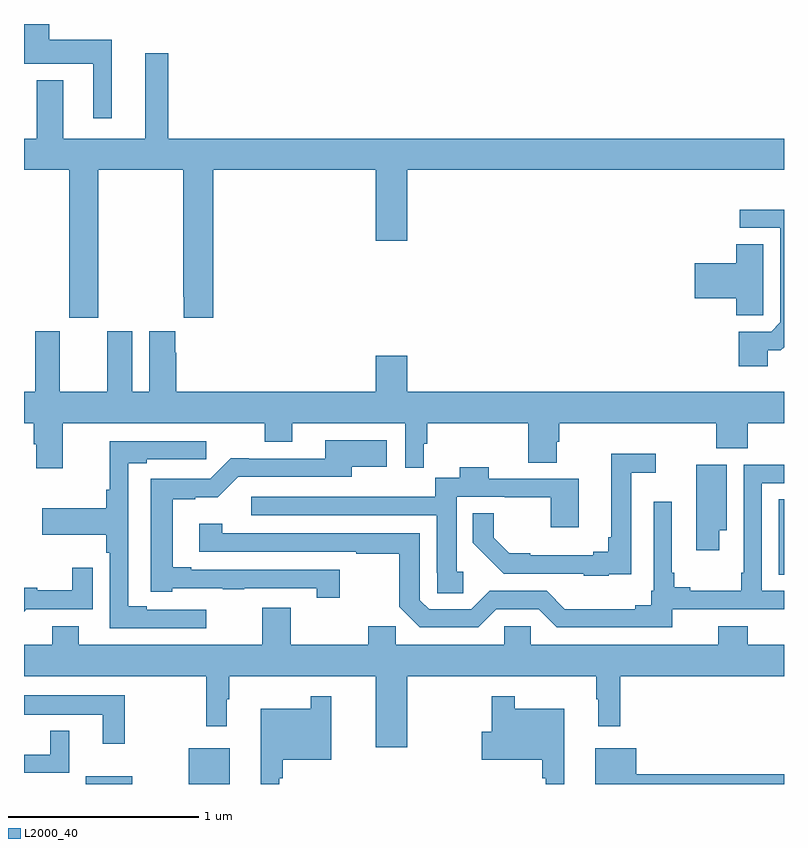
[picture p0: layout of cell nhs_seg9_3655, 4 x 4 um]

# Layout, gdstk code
import gdstk
lib = gdstk.Library(unit=1e-6, precision=1e-09)
def R(c, l, rs):  # rectangles x0, y0, x1, y1
    for r in rs: c.add(gdstk.rectangle(r[:2], r[2:], *l))
def P(c, l, *ps):  # polygons
    for p in ps: c.add(gdstk.Polygon(p, *l))
L2000_40 = (2000, 40)

nhs_seg9_3655 = lib.new_cell('nhs_seg9_3655')
R(nhs_seg9_3655, L2000_40, [(319.325,1214.5,319.57,1214.542), (319.868,1214.5,320.083,1214.689), (322.973,1215.601,323,1215.998)])
P(nhs_seg9_3655, L2000_40, [(319.462,1218.418),(319.132,1218.418),(319.132,1218.5),(319,1218.5),(319,1218.29),(319.364,1218.29),(319.364,1218.003),(319.462,1218.003)],
  [(319.392,1217.732),(319.837,1217.732),(319.837,1217.065),(319.841,1217.065),(319.841,1216.953),(319.997,1216.953),(319.997,1217.732),(320.852,1217.732),(320.852,1217.358),(321.016,1217.358),(321.016,1217.732),(323,1217.732),(323,1217.896),(319.759,1217.896),(319.759,1218.346),(319.637,1218.346),(319.637,1217.896),(319.207,1217.896),(319.207,1218.205),(319.067,1218.205),(319.067,1217.896),(319,1217.896),(319,1217.732),(319.237,1217.732),(319.237,1216.953),(319.392,1216.953)],
  [(322.915,1216.783),(322.983,1216.783),(323,1216.8),(323,1217.523),(322.767,1217.523),(322.767,1217.427),(322.98,1217.427),(322.98,1216.929),(322.932,1216.881),(322.763,1216.881),(322.763,1216.698),(322.915,1216.698)],
  [(322.89,1217.074),(322.891,1217.074),(322.891,1217.342),(322.748,1217.342),(322.748,1217.24),(322.53,1217.24),(322.53,1217.057),(322.748,1217.057),(322.748,1216.966),(322.89,1216.966)],
  [(321.016,1216.753),(320.852,1216.753),(320.852,1216.564),(319.802,1216.564),(319.802,1216.769),(319.795,1216.769),(319.795,1216.882),(319.658,1216.882),(319.658,1216.564),(319.57,1216.564),(319.57,1216.882),(319.439,1216.882),(319.439,1216.564),(319.189,1216.564),(319.189,1216.882),(319.058,1216.882),(319.058,1216.564),(319,1216.564),(319,1216.4),(319.052,1216.4),(319.052,1216.289),(319.064,1216.289),(319.064,1216.161),(319.204,1216.161),(319.204,1216.4),(320.266,1216.4),(320.266,1216.301),(320.413,1216.301),(320.413,1216.4),(321.006,1216.4),(321.006,1216.164),(321.103,1216.164),(321.103,1216.29),(321.122,1216.29),(321.122,1216.4),(321.653,1216.4),(321.653,1216.192),(321.805,1216.192),(321.805,1216.302),(321.818,1216.302),(321.818,1216.4),(322.643,1216.4),(322.643,1216.266),(322.808,1216.266),(322.808,1216.4),(323,1216.4),(323,1216.564),(321.016,1216.564)],
  [(320.662,1215.627),(319.879,1215.627),(319.879,1215.64),(319.783,1215.64),(319.783,1215.999),(319.902,1215.999),(319.902,1216.01),(320.021,1216.01),(320.127,1216.116),(320.725,1216.116),(320.725,1216.169),(320.908,1216.169),(320.908,1216.309),(320.585,1216.309),(320.585,1216.212),(320.182,1216.212),(320.182,1216.214),(320.087,1216.214),(319.98,1216.107),(319.667,1216.107),(319.667,1215.513),(319.779,1215.513),(319.779,1215.531),(320.047,1215.531),(320.047,1215.526),(320.159,1215.526),(320.159,1215.531),(320.541,1215.531),(320.541,1215.48),(320.662,1215.48)],
  [(319.96,1215.417),(319.645,1215.417),(319.645,1215.435),(319.548,1215.435),(319.548,1216.189),(319.645,1216.189),(319.645,1216.209),(319.96,1216.209),(319.96,1216.305),(319.45,1216.305),(319.45,1216.048),(319.432,1216.048),(319.432,1215.952),(319.095,1215.952),(319.095,1215.812),(319.432,1215.812),(319.432,1215.716),(319.452,1215.716),(319.452,1215.321),(319.96,1215.321)],
  [(322.077,1215.605),(322.195,1215.605),(322.195,1216.139),(322.324,1216.139),(322.324,1216.237),(322.091,1216.237),(322.091,1215.799),(322.074,1215.799),(322.074,1215.722),(321.995,1215.722),(321.995,1215.703),(321.664,1215.703),(321.664,1215.714),(321.555,1215.714),(321.472,1215.797),(321.472,1215.926),(321.362,1215.926),(321.362,1215.769),(321.446,1215.686),(321.445,1215.685),(321.524,1215.606),(321.945,1215.606),(321.945,1215.596),(322.077,1215.596)],
  [(322.66,1215.836),(322.699,1215.836),(322.699,1216.18),(322.538,1216.18),(322.538,1215.729),(322.66,1215.729)],
  [(321.486,1215.42),(321.708,1215.42),(321.804,1215.324),(322.413,1215.324),(322.413,1215.42),(323,1215.42),(323,1215.516),(322.884,1215.516),(322.884,1216.083),(323,1216.083),(323,1216.179),(322.788,1216.179),(322.788,1215.613),(322.776,1215.613),(322.776,1215.518),(322.507,1215.518),(322.507,1215.536),(322.423,1215.536),(322.423,1215.613),(322.41,1215.613),(322.41,1215.985),(322.314,1215.985),(322.314,1215.517),(322.302,1215.517),(322.302,1215.44),(322.217,1215.44),(322.217,1215.421),(321.845,1215.421),(321.75,1215.516),(321.45,1215.516),(321.354,1215.42),(321.132,1215.42),(321.084,1215.468),(321.084,1215.819),(320.043,1215.819),(320.043,1215.871),(319.923,1215.871),(319.923,1215.723),(320.749,1215.723),(320.749,1215.711),(320.976,1215.711),(320.976,1215.433),(321.084,1215.324),(321.39,1215.324)],
  [(321.312,1215.616),(321.277,1215.616),(321.277,1216.011),(321.529,1216.011),(321.529,1216.01),(321.772,1216.01),(321.772,1215.852),(321.919,1215.852),(321.919,1216.107),(321.446,1216.107),(321.446,1216.168),(321.293,1216.168),(321.293,1216.111),(321.164,1216.111),(321.164,1216.012),(320.895,1216.012),(320.895,1216.011),(320.196,1216.011),(320.196,1215.915),(321.173,1215.915),(321.173,1215.613),(321.174,1215.613),(321.174,1215.505),(321.312,1215.505)],
  [(319.013,1215.419),(319.362,1215.419),(319.362,1215.637),(319.254,1215.637),(319.254,1215.521),(319.069,1215.521),(319.069,1215.533),(319,1215.533),(319,1215.406)],
  [(319.288,1215.331),(319.148,1215.331),(319.148,1215.232),(319,1215.232),(319,1215.068),(319.959,1215.068),(319.959,1214.805),(320.068,1214.805),(320.068,1214.945),(320.08,1214.945),(320.08,1215.068),(320.852,1215.068),(320.852,1214.694),(321.016,1214.694),(321.016,1215.068),(322.011,1215.068),(322.011,1214.945),(322.022,1214.945),(322.022,1214.805),(322.139,1214.805),(322.139,1215.068),(323,1215.068),(323,1215.232),(322.808,1215.232),(322.808,1215.331),(322.655,1215.331),(322.655,1215.232),(321.666,1215.232),(321.666,1215.33),(321.528,1215.33),(321.528,1215.232),(320.957,1215.232),(320.957,1215.33),(320.812,1215.33),(320.812,1215.232),(320.403,1215.232),(320.403,1215.427),(320.255,1215.427),(320.255,1215.232),(319.288,1215.232)],
  [(319.529,1214.968),(319,1214.968),(319,1214.864),(319.415,1214.864),(319.415,1214.712),(319.529,1214.712)],
  [(321.844,1214.896),(321.583,1214.896),(321.583,1214.962),(321.462,1214.962),(321.462,1214.775),(321.41,1214.775),(321.41,1214.627),(321.727,1214.627),(321.727,1214.531),(321.747,1214.531),(321.747,1214.5),(321.844,1214.5)],
  [(320.343,1214.531),(320.363,1214.531),(320.363,1214.627),(320.616,1214.627),(320.616,1214.962),(320.508,1214.962),(320.508,1214.896),(320.246,1214.896),(320.246,1214.5),(320.343,1214.5)],
  [(319.237,1214.779),(319.139,1214.779),(319.139,1214.655),(319,1214.655),(319,1214.559),(319.237,1214.559)],
  [(323,1214.552),(322.222,1214.552),(322.222,1214.689),(322.007,1214.689),(322.007,1214.5),(323,1214.5)])

lib.write_gds('nhs_seg9_3655.gds')
